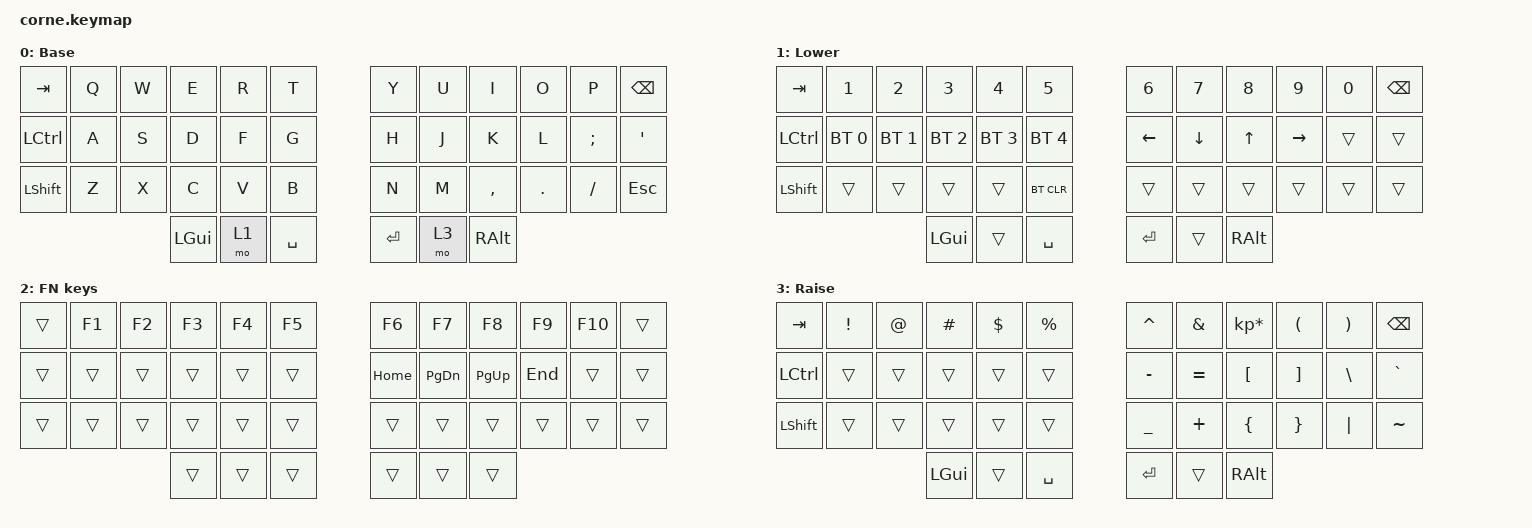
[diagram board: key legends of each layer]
/*
 * Copyright (c) 2020 The ZMK Contributors
 *
 * SPDX-License-Identifier: MIT
 */

#include <behaviors.dtsi>
#include <dt-bindings/zmk/bt.h>
#include <dt-bindings/zmk/keys.h>

/ {
    combos {
        compatible = "zmk,combos";

        fnlayer {
            bindings = <&mo 2>;
            key-positions = <37 40>;
        };
    };

    keymap {
        compatible = "zmk,keymap";

        default_layer {
            // -----------------------------------------------------------------------------------------
            // |  TAB |  Q  |  W  |  E  |  R  |  T  |   |  Y  |  U   |  I  |  O  |  P  | BKSP |
            // | CTRL |  A  |  S  |  D  |  F  |  G  |   |  H  |  J   |  K  |  L  |  ;  |  '   |
            // | SHFT |  Z  |  X  |  C  |  V  |  B  |   |  N  |  M   |  ,  |  .  |  /  | ESC  |
            //                    | GUI | LWR | SPC |   | ENT | RSE  | ALT |

            display-name = "Base";
            bindings = <
&kp TAB    &kp Q  &kp W  &kp E     &kp R  &kp T        &kp Y    &kp U  &kp I      &kp O    &kp P     &kp BSPC
&kp LCTRL  &kp A  &kp S  &kp D     &kp F  &kp G        &kp H    &kp J  &kp K      &kp L    &kp SEMI  &kp SQT
&kp LSHFT  &kp Z  &kp X  &kp C     &kp V  &kp B        &kp N    &kp M  &kp COMMA  &kp DOT  &kp FSLH  &kp ESC
                         &kp LGUI  &mo 1  &kp SPACE    &kp RET  &mo 3  &kp RALT
            >;
        };

        lower_layer {
            // -----------------------------------------------------------------------------------------
            // |  TAB |  1  |  2  |  3  |  4  |  5  |   |  6  |  7  |  8  |  9  |  0  | BKSP |
            // | BTCLR| BT1 | BT2 | BT3 | BT4 | BT5 |   | LFT | DWN |  UP | RGT |     |      |
            // | SHFT |     |     |     |     |     |   |     |     |     |     |     |      |
            //                    | GUI |     | SPC |   | ENT |     | ALT |

            display-name = "Lower";
            bindings = <
&kp TAB    &kp N1        &kp N2        &kp N3        &kp N4        &kp N5          &kp N6    &kp N7    &kp N8    &kp N9     &kp N0  &kp BSPC
&kp LCTRL  &bt BT_SEL 0  &bt BT_SEL 1  &bt BT_SEL 2  &bt BT_SEL 3  &bt BT_SEL 4    &kp LEFT  &kp DOWN  &kp UP    &kp RIGHT  &trans  &trans
&kp LSHFT  &trans        &trans        &trans        &trans        &bt BT_CLR      &trans    &trans    &trans    &trans     &trans  &trans
                                       &kp LGUI      &trans        &kp SPACE       &kp RET   &trans    &kp RALT
            >;
        };

        fnkeys {
            bindings = <
&trans  &kp F1  &kp F2  &kp F3  &kp F4  &kp F5    &kp F6    &kp F7         &kp F8       &kp F9   &kp F10  &trans
&trans  &trans  &trans  &trans  &trans  &trans    &kp HOME  &kp PAGE_DOWN  &kp PAGE_UP  &kp END  &trans   &trans
&trans  &trans  &trans  &trans  &trans  &trans    &trans    &trans         &trans       &trans   &trans   &trans
                        &trans  &trans  &trans    &trans    &trans         &trans
            >;

            label = "FN keys";
        };

        raise_layer {
            // -----------------------------------------------------------------------------------------
            // |  TAB |  !  |  @  |  #  |  $  |  %  |   |  ^  |  &  |  *  |  (  |  )  | BKSP |
            // | CTRL |     |     |     |     |     |   |  -  |  =  |  [  |  ]  |  \  |  `   |
            // | SHFT |     |     |     |     |     |   |  _  |  +  |  {  |  }  | "|" |  ~   |
            //                    | GUI |     | SPC |   | ENT |     | ALT |

            display-name = "Raise";
            bindings = <
&kp TAB    &kp EXCL  &kp AT  &kp HASH  &kp DLLR  &kp PRCNT    &kp CARET  &kp AMPS   &kp KP_MULTIPLY  &kp LPAR  &kp RPAR  &kp BSPC
&kp LCTRL  &trans    &trans  &trans    &trans    &trans       &kp MINUS  &kp EQUAL  &kp LBKT         &kp RBKT  &kp BSLH  &kp GRAVE
&kp LSHFT  &trans    &trans  &trans    &trans    &trans       &kp UNDER  &kp PLUS   &kp LBRC         &kp RBRC  &kp PIPE  &kp TILDE
                             &kp LGUI  &trans    &kp SPACE    &kp RET    &trans     &kp RALT
            >;
        };
    };
};
